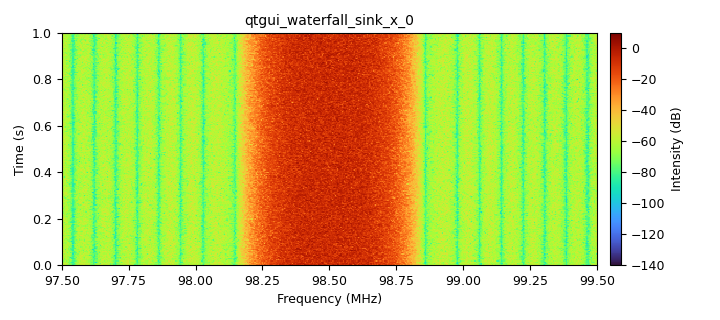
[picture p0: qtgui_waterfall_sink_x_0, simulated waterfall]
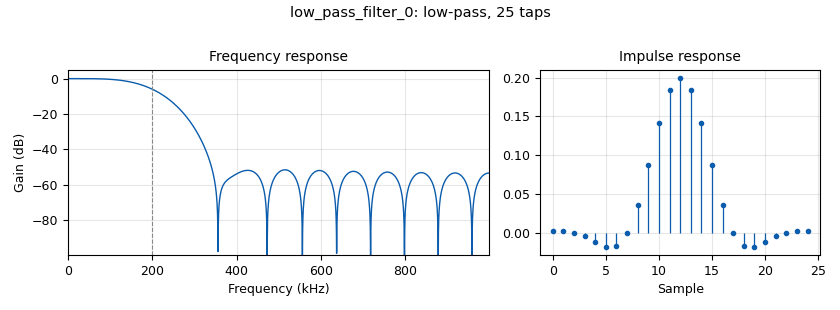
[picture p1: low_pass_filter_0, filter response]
options:
  parameters:
    author: jesse.d.harris42
    generate_options: qt_gui
    id: Noise_Jammer
    output_language: python
    title: Noise_Jammer
  states: {}

blocks:
- name: center_freq_slider
  id: variable_qtgui_range
  parameters:
    orient: Qt.Horizontal
    start: 088e3
    step: 10e3
    stop: 108e6
    value: 98.5e6
  states: {}
- name: cut_freq_slider
  id: variable_qtgui_range
  parameters:
    orient: Qt.Horizontal
    start: 100e3
    step: 50e3
    stop: 1e6
    value: 200e3
  states: {}
- name: samp_rate
  id: variable
  parameters:
    value: 2e6
  states: {}
- name: tr_width_slider
  id: variable_qtgui_range
  parameters:
    orient: Qt.Horizontal
    start: 100e3
    step: 50e3
    stop: 1e6
    value: 200e3
  states: {}
- name: analog_noise_source_x_0
  id: analog_noise_source_x
  parameters:
    amp: '50'
    noise_type: analog.GR_UNIFORM
    seed: '0'
    type: complex
  states: {}
- name: low_pass_filter_0
  id: low_pass_filter
  parameters:
    cutoff_freq: cut_freq_slider
    decim: '1'
    gain: '1'
    samp_rate: samp_rate
    type: fir_filter_ccf
    width: tr_width_slider
    win: firdes.WIN_HAMMING
  states: {}
- name: osmosdr_sink_0
  id: osmosdr_sink
  parameters:
    args: '"hackrf=0"'
    bb_gain0: '0'
    freq0: center_freq_slider
    gain0: '10'
    if_gain0: '50'
    sample_rate: samp_rate
    sync: sync
    type: fc32
  states: {}
- name: qtgui_waterfall_sink_x_0
  id: qtgui_waterfall_sink_x
  parameters:
    bw: samp_rate
    fc: center_freq_slider
    fftsize: '1024'
    type: complex
    wintype: firdes.WIN_BLACKMAN_hARRIS
  states: {}

connections:
- [analog_noise_source_x_0, '0', low_pass_filter_0, '0']
- [low_pass_filter_0, '0', osmosdr_sink_0, '0']
- [low_pass_filter_0, '0', qtgui_waterfall_sink_x_0, '0']

metadata:
  file_format: 1
